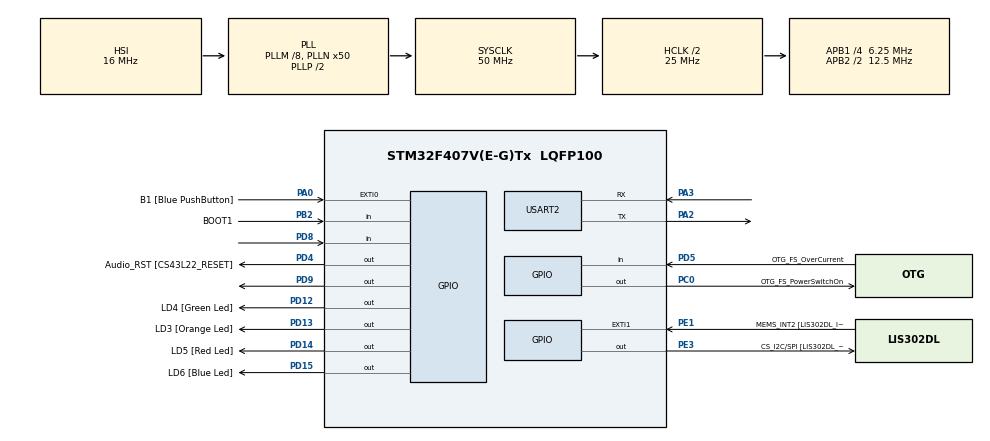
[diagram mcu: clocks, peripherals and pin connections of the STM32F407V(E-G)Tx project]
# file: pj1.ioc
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Mcu.Family=STM32F4
Mcu.Name=STM32F407V(E-G)Tx
Mcu.Package=LQFP100
NVIC.PriorityGroup=NVIC_PRIORITYGROUP_0
PA0-WKUP.GPIO_Label=B1 [Blue PushButton]
PA0-WKUP.GPIO_ModeDefaultEXTI=GPIO_MODE_EVT_RISING
PA0-WKUP.GPIO_PuPd=GPIO_NOPULL
PA0-WKUP.Signal=GPXTI0
PA10.GPIO_Label=OTG_FS_ID
PA10.GPIO_Mode=GPIO_MODE_AF_PP
PA10.GPIO_PuPd=GPIO_NOPULL
PA10.GPIO_Speed=GPIO_SPEED_FREQ_LOW
PA10.Signal=USB_OTG_FS_ID
PA11.GPIO_Label=OTG_FS_DM
PA11.GPIO_Mode=GPIO_MODE_AF_PP
PA11.GPIO_PuPd=GPIO_NOPULL
PA11.GPIO_Speed=GPIO_SPEED_FREQ_LOW
PA11.Signal=USB_OTG_FS_DM
PA12.GPIO_Label=OTG_FS_DP
PA12.GPIO_Mode=GPIO_MODE_AF_PP
PA12.GPIO_PuPd=GPIO_NOPULL
PA12.GPIO_Speed=GPIO_SPEED_FREQ_LOW
PA12.Signal=USB_OTG_FS_DP
PA13.GPIO_Label=SWDIO
PA13.Signal=SYS_JTMS-SWDIO
PA14.GPIO_Label=SWCLK
PA14.Signal=SYS_JTCK-SWCLK
PA2.Mode=Asynchronous
PA2.Signal=USART2_TX
PA3.Mode=Asynchronous
PA3.Signal=USART2_RX
PA4.GPIO_Label=I2S3_WS [CS43L22_LRCK]
PA4.GPIO_Mode=GPIO_MODE_AF_PP
PA4.GPIO_PuPd=GPIO_NOPULL
PA4.GPIO_Speed=GPIO_SPEED_FREQ_LOW
PA4.Signal=I2S3_WS
PA5.GPIO_Label=SPI1_SCK [LIS302DL_SCL/SPC]
PA5.GPIO_Mode=GPIO_MODE_AF_PP
PA5.GPIO_PuPd=GPIO_NOPULL
PA5.GPIO_Speed=GPIO_SPEED_FREQ_LOW
PA5.Signal=SPI1_SCK
PA6.GPIO_Label=SPI1_MISO [LIS302DL_SDO]
PA6.GPIO_Mode=GPIO_MODE_AF_PP
PA6.GPIO_PuPd=GPIO_NOPULL
PA6.GPIO_Speed=GPIO_SPEED_FREQ_LOW
PA6.Signal=SPI1_MISO
PA7.GPIO_Label=SPI1_MOSI [LIS302DL_SDA/SDI/SDO]
PA7.GPIO_Mode=GPIO_MODE_AF_PP
PA7.GPIO_PuPd=GPIO_NOPULL
PA7.GPIO_Speed=GPIO_SPEED_FREQ_LOW
PA7.Signal=SPI1_MOSI
PA9.GPIO_Label=VBUS_FS
PA9.GPIO_Mode=GPIO_MODE_INPUT
PA9.GPIO_PuPd=GPIO_NOPULL
PA9.Signal=USB_OTG_FS_VBUS
PB10.GPIO_Label=CLK_IN [MP45DT02_CLK]
PB10.GPIO_Mode=GPIO_MODE_AF_PP
PB10.GPIO_PuPd=GPIO_NOPULL
PB10.GPIO_Speed=GPIO_SPEED_FREQ_LOW
PB10.Signal=I2S2_CK
PB2.GPIO_Label=BOOT1
PB2.GPIO_Mode=GPIO_MODE_INPUT
PB2.GPIO_PuPd=GPIO_NOPULL
PB2.Signal=GPIO_Input
PB3.GPIO_Label=SWO
PB3.Signal=SYS_JTDO-SWO
PB6.GPIO_Label=Audio_SCL [CS43L22_SCL]
PB6.GPIO_Mode=GPIO_MODE_AF_OD
PB6.GPIO_PuPd=GPIO_NOPULL
PB6.GPIO_Speed=GPIO_SPEED_FREQ_LOW
PB6.Signal=I2C1_SCL
PB9.GPIO_Label=Audio_SDA [CS43L22_SDA]
PB9.GPIO_Mode=GPIO_MODE_AF_OD
PB9.GPIO_PuPd=GPIO_NOPULL
PB9.GPIO_Speed=GPIO_SPEED_FREQ_LOW
PB9.Signal=I2C1_SDA
PC0.GPIO_Label=OTG_FS_PowerSwitchOn
PC0.GPIO_PuPd=GPIO_NOPULL
PC0.GPIO_Speed=GPIO_SPEED_FREQ_LOW
PC0.PinState=GPIO_PIN_SET
PC0.Signal=GPIO_Output
PC10.GPIO_Label=I2S3_SCK [CS43L22_SCLK]
PC10.GPIO_Mode=GPIO_MODE_AF_PP
PC10.GPIO_PuPd=GPIO_NOPULL
PC10.GPIO_Speed=GPIO_SPEED_FREQ_LOW
PC10.Signal=I2S3_CK
PC12.GPIO_Label=I2S3_SD [CS43L22_SDIN]
PC12.GPIO_Mode=GPIO_MODE_AF_PP
PC12.GPIO_PuPd=GPIO_NOPULL
PC12.GPIO_Speed=GPIO_SPEED_FREQ_LOW
PC12.Signal=I2S3_SD
PC14-OSC32_IN.GPIO_Label=PC14-OSC32_IN
PC14-OSC32_IN.Signal=RCC_OSC32_IN
PC15-OSC32_OUT.GPIO_Label=PC15-OSC32_OUT
PC15-OSC32_OUT.Signal=RCC_OSC32_OUT
PC3.GPIO_Label=PDM_OUT [MP45DT02_DOUT]
PC3.GPIO_Mode=GPIO_MODE_AF_PP
PC3.GPIO_PuPd=GPIO_NOPULL
PC3.GPIO_Speed=GPIO_SPEED_FREQ_LOW
PC3.Signal=I2S2_SD
PC7.GPIO_Label=I2S3_MCK [CS43L22_MCLK]
PC7.GPIO_Mode=GPIO_MODE_AF_PP
PC7.GPIO_PuPd=GPIO_NOPULL
PC7.GPIO_Speed=GPIO_SPEED_FREQ_LOW
PC7.Signal=I2S3_MCK
PD12.GPIO_Label=LD4 [Green Led]
PD12.GPIO_PuPd=GPIO_NOPULL
PD12.GPIO_Speed=GPIO_SPEED_FREQ_LOW
PD12.Signal=GPIO_Output
PD13.GPIO_Label=LD3 [Orange Led]
PD13.GPIO_PuPd=GPIO_NOPULL
PD13.GPIO_Speed=GPIO_SPEED_FREQ_LOW
PD13.Signal=GPIO_Output
PD14.GPIO_Label=LD5 [Red Led]
PD14.GPIO_PuPd=GPIO_NOPULL
PD14.GPIO_Speed=GPIO_SPEED_FREQ_LOW
PD14.Signal=GPIO_Output
PD15.GPIO_Label=LD6 [Blue Led]
PD15.GPIO_PuPd=GPIO_NOPULL
PD15.GPIO_Speed=GPIO_SPEED_FREQ_LOW
PD15.Signal=GPIO_Output
PD4.GPIO_Label=Audio_RST [CS43L22_RESET]
PD4.GPIO_PuPd=GPIO_NOPULL
PD4.GPIO_Speed=GPIO_SPEED_FREQ_LOW
PD4.Signal=GPIO_Output
PD5.GPIO_Label=OTG_FS_OverCurrent
PD5.GPIO_Mode=GPIO_MODE_INPUT
PD5.GPIO_PuPd=GPIO_NOPULL
PD5.Signal=GPIO_Input
PD8.Signal=GPIO_Input
PD9.Signal=GPIO_Output
PE1.GPIO_Label=MEMS_INT2 [LIS302DL_INT2]
PE1.GPIO_ModeDefaultEXTI=GPIO_MODE_EVT_RISING
PE1.GPIO_PuPd=GPIO_NOPULL
PE1.Signal=GPXTI1
PE3.GPIO_Label=CS_I2C/SPI [LIS302DL_CS_I2C/SPI]
PE3.GPIO_PuPd=GPIO_NOPULL
PE3.GPIO_Speed=GPIO_SPEED_FREQ_LOW
PE3.Signal=GPIO_Output
PH0-OSC_IN.GPIO_Label=PH0-OSC_IN
PH0-OSC_IN.Signal=RCC_OSC_IN
PH1-OSC_OUT.GPIO_Label=PH1-OSC_OUT
PH1-OSC_OUT.Signal=RCC_OSC_OUT
ProjectManager.HeapSize=0x200
ProjectManager.StackSize=0x400
ProjectManager.TargetToolchain=SW4STM32
RCC.48MHZClocksFreq_Value=14285714.285714285
RCC.AHBCLKDivider=RCC_SYSCLK_DIV2
RCC.AHBFreq_Value=25000000
RCC.APB1CLKDivider=RCC_HCLK_DIV4
RCC.APB1Freq_Value=6250000
RCC.APB1TimFreq_Value=12500000
RCC.APB2CLKDivider=RCC_HCLK_DIV2
RCC.APB2Freq_Value=12500000
RCC.APB2TimFreq_Value=25000000
RCC.CortexFreq_Value=25000000
RCC.HCLKFreq_Value=25000000
RCC.HSE_VALUE=8000000
RCC.HSI_VALUE=16000000
RCC.LSE_VALUE=32768
RCC.PLLM=8
RCC.PLLN=50
RCC.PLLQ=7
RCC.SYSCLKFreq_VALUE=50000000
RCC.SYSCLKSource=RCC_SYSCLKSOURCE_PLLCLK
RCC.VCOOutputFreq_Value=100000000
USART2.VirtualMode=VM_ASYNC
board=STM32F4DISCOVERY

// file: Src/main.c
/**
  ******************************************************************************
  * @file           : main.c
  * @brief          : Main program body
  ******************************************************************************
  ** This notice applies to any and all portions of this file
  * that are not between comment pairs USER CODE BEGIN and
  * USER CODE END. Other portions of this file, whether
  * inserted by the user or by software development tools
  * are owned by their respective copyright owners.
  *
  * COPYRIGHT(c) 2561 STMicroelectronics
  *
  * Redistribution and use in source and binary forms, with or without modification,
  * are permitted provided that the following conditions are met:
  *   1. Redistributions of source code must retain the above copyright notice,
  *      this list of conditions and the following disclaimer.
  *   2. Redistributions in binary form must reproduce the above copyright notice,
  *      this list of conditions and the following disclaimer in the documentation
  *      and/or other materials provided with the distribution.
  *   3. Neither the name of STMicroelectronics nor the names of its contributors
  *      may be used to endorse or promote products derived from this software
  *      without specific prior written permission.
  *
  * THIS SOFTWARE IS PROVIDED BY THE COPYRIGHT HOLDERS AND CONTRIBUTORS "AS IS"
  * AND ANY EXPRESS OR IMPLIED WARRANTIES, INCLUDING, BUT NOT LIMITED TO, THE
  * IMPLIED WARRANTIES OF MERCHANTABILITY AND FITNESS FOR A PARTICULAR PURPOSE ARE
  * DISCLAIMED. IN NO EVENT SHALL THE COPYRIGHT HOLDER OR CONTRIBUTORS BE LIABLE
  * FOR ANY DIRECT, INDIRECT, INCIDENTAL, SPECIAL, EXEMPLARY, OR CONSEQUENTIAL
  * DAMAGES (INCLUDING, BUT NOT LIMITED TO, PROCUREMENT OF SUBSTITUTE GOODS OR
  * SERVICES; LOSS OF USE, DATA, OR PROFITS; OR BUSINESS INTERRUPTION) HOWEVER
  * CAUSED AND ON ANY THEORY OF LIABILITY, WHETHER IN CONTRACT, STRICT LIABILITY,
  * OR TORT (INCLUDING NEGLIGENCE OR OTHERWISE) ARISING IN ANY WAY OUT OF THE USE
  * OF THIS SOFTWARE, EVEN IF ADVISED OF THE POSSIBILITY OF SUCH DAMAGE.
  *
  ******************************************************************************
  */
#include "main.h"
#include "stm32f4xx_hal.h"

UART_HandleTypeDef huart2;

/* USER CODE BEGIN PV */
/* Private variables ---------------------------------------------------------*/
	uint32_t Distance;
	uint32_t i,j;
	uint8_t pdata[2];
	uint8_t rdata[2];
	uint32_t all=0;
/* USER CODE END PV */

void SystemClock_Config(void);
static void MX_GPIO_Init(void);
static void MX_USART2_UART_Init(void);

/* USER CODE BEGIN PFP */
/* Private function prototypes -----------------------------------------------*/

/* USER CODE END PFP */

/* USER CODE BEGIN 0 */
void myDelay(uint16_t i){
	volatile uint32_t cycles = (SystemCoreClock/1000000L)*i;
	volatile uint32_t start = DWT->CYCCNT;
	do{

	}while(DWT->CYCCNT- start < cycles);

}

/* USER CODE END 0 */

int main(void)
{

  /* MCU Configuration----------------------------------------------------------*/

  /* Reset of all peripherals, Initializes the Flash interface and the Systick. */
  HAL_Init();

  /* Configure the system clock */
  SystemClock_Config();

  /* Initialize all configured peripherals */
  MX_GPIO_Init();
  MX_USART2_UART_Init();
  /* USER CODE BEGIN 2 */
  /* Init system clock for maximum system speed */

  	/* Init delay */

  /* USER CODE END 2 */

  /* Infinite loop */
  /* USER CODE BEGIN WHILE */
  while (1)
  {
	  i = 0;
	  HAL_Delay(500);

	  HAL_GPIO_WritePin(GPIOD,GPIO_PIN_9,GPIO_PIN_SET);
	  myDelay(2);
	  HAL_GPIO_WritePin(GPIOD,GPIO_PIN_9,GPIO_PIN_RESET);
	  myDelay(10);

	  while(HAL_GPIO_ReadPin(GPIOD,GPIO_PIN_8)==0){

	  }

	  while(HAL_GPIO_ReadPin(GPIOD,GPIO_PIN_8)==1){
		  i++;
		  myDelay(1);
	  }

	  j=i;
	  Distance = (float)j*0.034*2;
	  if(j>2000){
		  HAL_GPIO_WritePin(GPIOD,GPIO_PIN_13,GPIO_PIN_SET);
		  pdata[0]=1;

	  }
	  else {
		  HAL_GPIO_WritePin(GPIOD,GPIO_PIN_13,GPIO_PIN_RESET);
		  pdata[0]=0;
	  }

	  HAL_UART_Transmit(&huart2,pdata,1,1000);

	  if(HAL_UART_Receive(&huart2,rdata,2,1000)==HAL_OK){
		  int x = (int)rdata[0];
		  if(x==0){
			  HAL_GPIO_WritePin(GPIOD,GPIO_PIN_12,1);
			  HAL_GPIO_WritePin(GPIOD,GPIO_PIN_15,0);
			  HAL_GPIO_WritePin(GPIOD,GPIO_PIN_14,0);
		  }
		  else if(x>=1 && x<=3){
			  HAL_GPIO_WritePin(GPIOD,GPIO_PIN_15,1);
			  HAL_GPIO_WritePin(GPIOD,GPIO_PIN_12,0);
			  HAL_GPIO_WritePin(GPIOD,GPIO_PIN_14,0);
		  }
		  else if(x>3){
			  HAL_GPIO_WritePin(GPIOD,GPIO_PIN_14,1);
			  HAL_GPIO_WritePin(GPIOD,GPIO_PIN_12,0);
			  HAL_GPIO_WritePin(GPIOD,GPIO_PIN_15,0);
		  }
		  else{
			  HAL_GPIO_WritePin(GPIOD,GPIO_PIN_12,0);
			  HAL_GPIO_WritePin(GPIOD,GPIO_PIN_14,0);
			  HAL_GPIO_WritePin(GPIOD,GPIO_PIN_15,0);
		  }
	  }

  /* USER CODE END WHILE */

  }

}

void SystemClock_Config(void)
{

  RCC_OscInitTypeDef RCC_OscInitStruct;
  RCC_ClkInitTypeDef RCC_ClkInitStruct;

    /**Configure the main internal regulator output voltage
    */
  __HAL_RCC_PWR_CLK_ENABLE();

  __HAL_PWR_VOLTAGESCALING_CONFIG(PWR_REGULATOR_VOLTAGE_SCALE1);

    /**Initializes the CPU, AHB and APB busses clocks
    */
  RCC_OscInitStruct.OscillatorType = RCC_OSCILLATORTYPE_HSI;
  RCC_OscInitStruct.HSIState = RCC_HSI_ON;
  RCC_OscInitStruct.HSICalibrationValue = 16;
  RCC_OscInitStruct.PLL.PLLState = RCC_PLL_ON;
  RCC_OscInitStruct.PLL.PLLSource = RCC_PLLSOURCE_HSI;
  RCC_OscInitStruct.PLL.PLLM = 8;
  RCC_OscInitStruct.PLL.PLLN = 50;
  RCC_OscInitStruct.PLL.PLLP = RCC_PLLP_DIV2;
  RCC_OscInitStruct.PLL.PLLQ = 7;
  if (HAL_RCC_OscConfig(&RCC_OscInitStruct) != HAL_OK)
  {
    _Error_Handler(__FILE__, __LINE__);
  }

    /**Initializes the CPU, AHB and APB busses clocks
    */
  RCC_ClkInitStruct.ClockType = RCC_CLOCKTYPE_HCLK|RCC_CLOCKTYPE_SYSCLK
                              |RCC_CLOCKTYPE_PCLK1|RCC_CLOCKTYPE_PCLK2;
  RCC_ClkInitStruct.SYSCLKSource = RCC_SYSCLKSOURCE_PLLCLK;
  RCC_ClkInitStruct.AHBCLKDivider = RCC_SYSCLK_DIV2;
  RCC_ClkInitStruct.APB1CLKDivider = RCC_HCLK_DIV4;
  RCC_ClkInitStruct.APB2CLKDivider = RCC_HCLK_DIV2;

  if (HAL_RCC_ClockConfig(&RCC_ClkInitStruct, FLASH_LATENCY_0) != HAL_OK)
  {
    _Error_Handler(__FILE__, __LINE__);
  }

    /**Configure the Systick interrupt time
    */
  HAL_SYSTICK_Config(HAL_RCC_GetHCLKFreq()/1000);

    /**Configure the Systick
    */
  HAL_SYSTICK_CLKSourceConfig(SYSTICK_CLKSOURCE_HCLK);

  /* SysTick_IRQn interrupt configuration */
  HAL_NVIC_SetPriority(SysTick_IRQn, 0, 0);
}

/* USART2 init function */
static void MX_USART2_UART_Init(void)
{

  huart2.Instance = USART2;
  huart2.Init.BaudRate = 115200;
  huart2.Init.WordLength = UART_WORDLENGTH_8B;
  huart2.Init.StopBits = UART_STOPBITS_1;
  huart2.Init.Parity = UART_PARITY_NONE;
  huart2.Init.Mode = UART_MODE_TX_RX;
  huart2.Init.HwFlowCtl = UART_HWCONTROL_NONE;
  huart2.Init.OverSampling = UART_OVERSAMPLING_16;
  if (HAL_UART_Init(&huart2) != HAL_OK)
  {
    _Error_Handler(__FILE__, __LINE__);
  }

}

/** Configure pins as
        * Analog
        * Input
        * Output
        * EVENT_OUT
        * EXTI
     PC3   ------> I2S2_SD
     PA4   ------> I2S3_WS
     PA5   ------> SPI1_SCK
     PA6   ------> SPI1_MISO
     PA7   ------> SPI1_MOSI
     PB10   ------> I2S2_CK
     PC7   ------> I2S3_MCK
     PA9   ------> USB_OTG_FS_VBUS
     PA10   ------> USB_OTG_FS_ID
     PA11   ------> USB_OTG_FS_DM
     PA12   ------> USB_OTG_FS_DP
     PC10   ------> I2S3_CK
     PC12   ------> I2S3_SD
     PB6   ------> I2C1_SCL
     PB9   ------> I2C1_SDA
*/
static void MX_GPIO_Init(void)
{

  GPIO_InitTypeDef GPIO_InitStruct;

  /* GPIO Ports Clock Enable */
  __HAL_RCC_GPIOE_CLK_ENABLE();
  __HAL_RCC_GPIOC_CLK_ENABLE();
  __HAL_RCC_GPIOH_CLK_ENABLE();
  __HAL_RCC_GPIOA_CLK_ENABLE();
  __HAL_RCC_GPIOB_CLK_ENABLE();
  __HAL_RCC_GPIOD_CLK_ENABLE();

  /*Configure GPIO pin Output Level */
  HAL_GPIO_WritePin(CS_I2C_SPI_GPIO_Port, CS_I2C_SPI_Pin, GPIO_PIN_RESET);

  /*Configure GPIO pin Output Level */
  HAL_GPIO_WritePin(OTG_FS_PowerSwitchOn_GPIO_Port, OTG_FS_PowerSwitchOn_Pin, GPIO_PIN_SET);

  /*Configure GPIO pin Output Level */
  HAL_GPIO_WritePin(GPIOD, GPIO_PIN_9|LD4_Pin|LD3_Pin|LD5_Pin
                          |LD6_Pin|Audio_RST_Pin, GPIO_PIN_RESET);

  /*Configure GPIO pin : CS_I2C_SPI_Pin */
  GPIO_InitStruct.Pin = CS_I2C_SPI_Pin;
  GPIO_InitStruct.Mode = GPIO_MODE_OUTPUT_PP;
  GPIO_InitStruct.Pull = GPIO_NOPULL;
  GPIO_InitStruct.Speed = GPIO_SPEED_FREQ_LOW;
  HAL_GPIO_Init(CS_I2C_SPI_GPIO_Port, &GPIO_InitStruct);

  /*Configure GPIO pin : OTG_FS_PowerSwitchOn_Pin */
  GPIO_InitStruct.Pin = OTG_FS_PowerSwitchOn_Pin;
  GPIO_InitStruct.Mode = GPIO_MODE_OUTPUT_PP;
  GPIO_InitStruct.Pull = GPIO_NOPULL;
  GPIO_InitStruct.Speed = GPIO_SPEED_FREQ_LOW;
  HAL_GPIO_Init(OTG_FS_PowerSwitchOn_GPIO_Port, &GPIO_InitStruct);

  /*Configure GPIO pin : PDM_OUT_Pin */
  GPIO_InitStruct.Pin = PDM_OUT_Pin;
  GPIO_InitStruct.Mode = GPIO_MODE_AF_PP;
  GPIO_InitStruct.Pull = GPIO_NOPULL;
  GPIO_InitStruct.Speed = GPIO_SPEED_FREQ_LOW;
  GPIO_InitStruct.Alternate = GPIO_AF5_SPI2;
  HAL_GPIO_Init(PDM_OUT_GPIO_Port, &GPIO_InitStruct);

  /*Configure GPIO pin : B1_Pin */
  GPIO_InitStruct.Pin = B1_Pin;
  GPIO_InitStruct.Mode = GPIO_MODE_EVT_RISING;
  GPIO_InitStruct.Pull = GPIO_NOPULL;
  HAL_GPIO_Init(B1_GPIO_Port, &GPIO_InitStruct);

  /*Configure GPIO pin : I2S3_WS_Pin */
  GPIO_InitStruct.Pin = I2S3_WS_Pin;
  GPIO_InitStruct.Mode = GPIO_MODE_AF_PP;
  GPIO_InitStruct.Pull = GPIO_NOPULL;
  GPIO_InitStruct.Speed = GPIO_SPEED_FREQ_LOW;
  GPIO_InitStruct.Alternate = GPIO_AF6_SPI3;
  HAL_GPIO_Init(I2S3_WS_GPIO_Port, &GPIO_InitStruct);

  /*Configure GPIO pins : SPI1_SCK_Pin SPI1_MISO_Pin SPI1_MOSI_Pin */
  GPIO_InitStruct.Pin = SPI1_SCK_Pin|SPI1_MISO_Pin|SPI1_MOSI_Pin;
  GPIO_InitStruct.Mode = GPIO_MODE_AF_PP;
  GPIO_InitStruct.Pull = GPIO_NOPULL;
  GPIO_InitStruct.Speed = GPIO_SPEED_FREQ_LOW;
  GPIO_InitStruct.Alternate = GPIO_AF5_SPI1;
  HAL_GPIO_Init(GPIOA, &GPIO_InitStruct);

  /*Configure GPIO pin : BOOT1_Pin */
  GPIO_InitStruct.Pin = BOOT1_Pin;
  GPIO_InitStruct.Mode = GPIO_MODE_INPUT;
  GPIO_InitStruct.Pull = GPIO_NOPULL;
  HAL_GPIO_Init(BOOT1_GPIO_Port, &GPIO_InitStruct);

  /*Configure GPIO pin : CLK_IN_Pin */
  GPIO_InitStruct.Pin = CLK_IN_Pin;
  GPIO_InitStruct.Mode = GPIO_MODE_AF_PP;
  GPIO_InitStruct.Pull = GPIO_NOPULL;
  GPIO_InitStruct.Speed = GPIO_SPEED_FREQ_LOW;
  GPIO_InitStruct.Alternate = GPIO_AF5_SPI2;
  HAL_GPIO_Init(CLK_IN_GPIO_Port, &GPIO_InitStruct);

  /*Configure GPIO pins : PD8 OTG_FS_OverCurrent_Pin */
  GPIO_InitStruct.Pin = GPIO_PIN_8|OTG_FS_OverCurrent_Pin;
  GPIO_InitStruct.Mode = GPIO_MODE_INPUT;
  GPIO_InitStruct.Pull = GPIO_NOPULL;
  HAL_GPIO_Init(GPIOD, &GPIO_InitStruct);

  /*Configure GPIO pins : PD9 LD4_Pin LD3_Pin LD5_Pin
                           LD6_Pin Audio_RST_Pin */
  GPIO_InitStruct.Pin = GPIO_PIN_9|LD4_Pin|LD3_Pin|LD5_Pin
                          |LD6_Pin|Audio_RST_Pin;
  GPIO_InitStruct.Mode = GPIO_MODE_OUTPUT_PP;
  GPIO_InitStruct.Pull = GPIO_NOPULL;
  GPIO_InitStruct.Speed = GPIO_SPEED_FREQ_LOW;
  HAL_GPIO_Init(GPIOD, &GPIO_InitStruct);

  /*Configure GPIO pins : I2S3_MCK_Pin I2S3_SCK_Pin I2S3_SD_Pin */
  GPIO_InitStruct.Pin = I2S3_MCK_Pin|I2S3_SCK_Pin|I2S3_SD_Pin;
  GPIO_InitStruct.Mode = GPIO_MODE_AF_PP;
  GPIO_InitStruct.Pull = GPIO_NOPULL;
  GPIO_InitStruct.Speed = GPIO_SPEED_FREQ_LOW;
  GPIO_InitStruct.Alternate = GPIO_AF6_SPI3;
  HAL_GPIO_Init(GPIOC, &GPIO_InitStruct);

  /*Configure GPIO pin : VBUS_FS_Pin */
  GPIO_InitStruct.Pin = VBUS_FS_Pin;
  GPIO_InitStruct.Mode = GPIO_MODE_INPUT;
  GPIO_InitStruct.Pull = GPIO_NOPULL;
  HAL_GPIO_Init(VBUS_FS_GPIO_Port, &GPIO_InitStruct);

  /*Configure GPIO pins : OTG_FS_ID_Pin OTG_FS_DM_Pin OTG_FS_DP_Pin */
  GPIO_InitStruct.Pin = OTG_FS_ID_Pin|OTG_FS_DM_Pin|OTG_FS_DP_Pin;
  GPIO_InitStruct.Mode = GPIO_MODE_AF_PP;
  GPIO_InitStruct.Pull = GPIO_NOPULL;
  GPIO_InitStruct.Speed = GPIO_SPEED_FREQ_LOW;
  GPIO_InitStruct.Alternate = GPIO_AF10_OTG_FS;
  HAL_GPIO_Init(GPIOA, &GPIO_InitStruct);

  /*Configure GPIO pins : Audio_SCL_Pin Audio_SDA_Pin */
  GPIO_InitStruct.Pin = Audio_SCL_Pin|Audio_SDA_Pin;
  GPIO_InitStruct.Mode = GPIO_MODE_AF_OD;
  GPIO_InitStruct.Pull = GPIO_PULLUP;
  GPIO_InitStruct.Speed = GPIO_SPEED_FREQ_LOW;
  GPIO_InitStruct.Alternate = GPIO_AF4_I2C1;
  HAL_GPIO_Init(GPIOB, &GPIO_InitStruct);

  /*Configure GPIO pin : MEMS_INT2_Pin */
  GPIO_InitStruct.Pin = MEMS_INT2_Pin;
  GPIO_InitStruct.Mode = GPIO_MODE_EVT_RISING;
  GPIO_InitStruct.Pull = GPIO_NOPULL;
  HAL_GPIO_Init(MEMS_INT2_GPIO_Port, &GPIO_InitStruct);

}

void _Error_Handler(char *file, int line)
{
  while(1)
  {
  }
}

/************************ (C) COPYRIGHT STMicroelectronics *****END OF FILE****/
